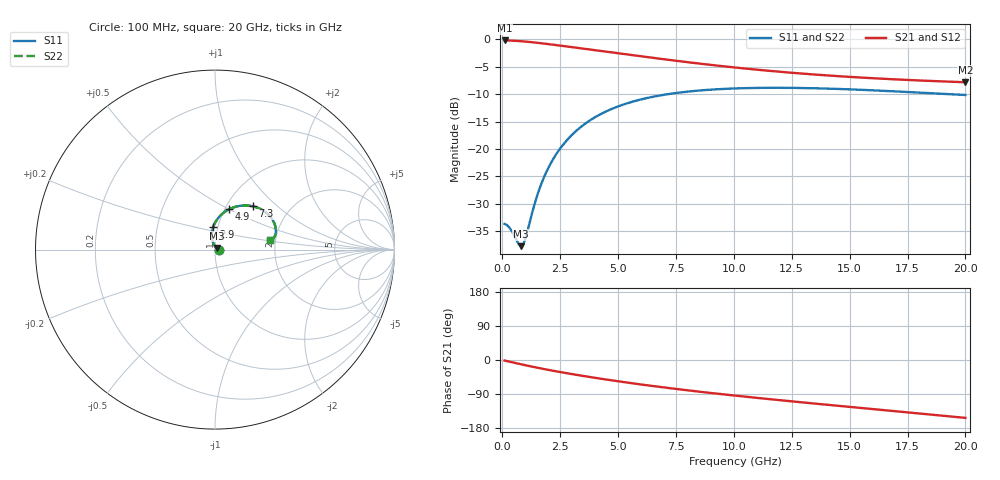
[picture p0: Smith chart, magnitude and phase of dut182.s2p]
! Created with skrf 1.9.0 (http://scikit-rf.org).
# GHz S RI R 50.0
!freq ReS11 ImS11 ReS21 ImS21 ReS12 ImS12 ReS22 ImS22
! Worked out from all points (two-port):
!   200 points, 100 MHz to 20 GHz, reference 50 ohm
!   highest |S21| = -0.19 dB at 100 MHz (marker M1); lowest = -7.8 dB at 20 GHz (marker M2)
!   |S21| within 3 dB of the highest: start of sweep to 6.179 GHz
!   lowest |S11| = -37.8 dB at 800 MHz (marker M3), VSWR 1.03, Z = 50.9 + j0.934 ohm
!   |S11| at or under -10 dB: start of sweep to 7.154 GHz; 19.27 GHz to end of sweep
!   |S22| runs from -37.8 to -8.8 dB; largest |S21 - S12| = 2.1e-15
!   S11 on the Smith chart (normalised r, x): 100 MHz: 1.04, +0.00; 2.9 GHz: 0.95, +0.24; 4.9 GHz: 1.05, +0.50; 7.3 GHz: 1.31, +0.71; 20 GHz: 1.87, +0.21
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0.1  0.0206 0.000208  0.9786 -0.024  0.9786 -0.024  0.0206 0.000208
0.3  0.0191 0.00171  0.9741 -0.0725  0.9741 -0.0725  0.0191 0.00171
0.7  0.0116 0.00702  0.953 -0.1651  0.953 -0.1651  0.0116 0.00702
0.8  0.00907 0.00917  0.9456 -0.187  0.9456 -0.187  0.00907 0.00917
0.9  0.00641 0.0117  0.9373 -0.2084  0.9373 -0.2084  0.00641 0.0117
1  0.00365 0.0147  0.9283 -0.2291  0.9283 -0.2291  0.00365 0.0147
1.4  -0.00712 0.0308  0.8867 -0.3054  0.8867 -0.3054  -0.00712 0.0308
1.6  -0.0116 0.0412  0.8633 -0.3396  0.8633 -0.3396  -0.0116 0.0412
1.8  -0.0151 0.0528  0.8386 -0.3712  0.8386 -0.3712  -0.0151 0.0528
2.3  -0.018 0.0856  0.7734 -0.4397  0.7734 -0.4397  -0.018 0.0856
2.9  -0.00983 0.1268  0.6922 -0.5045  0.6922 -0.5045  -0.00983 0.1268
3.5  0.00962 0.1649  0.6107 -0.5533  0.6107 -0.5533  0.00962 0.1649
4.2  0.0423 0.2007  0.5177 -0.5935  0.5177 -0.5935  0.0423 0.2007
4.9  0.0808 0.2257  0.4286 -0.6185  0.4286 -0.6185  0.0808 0.2257
5.8  0.1321 0.2427  0.3223 -0.6326  0.3223 -0.6326  0.1321 0.2427
6.8  0.1855 0.2451  0.2166 -0.6303  0.2166 -0.6303  0.1855 0.2451
7.3  0.2093 0.2415  0.1689 -0.6238  0.1689 -0.6238  0.2093 0.2415
8.7  0.2643 0.2201  0.0526 -0.593  0.0526 -0.593  0.2643 0.2201
10.1  0.3021 0.19  -0.0412 -0.551  -0.0412 -0.551  0.3021 0.19
13.4  0.3383 0.118  -0.1985 -0.4363  -0.1985 -0.4363  0.3383 0.118
16.7  0.3302 0.069  -0.2992 -0.3147  -0.2992 -0.3147  0.3302 0.069
20  0.3064 0.0517  -0.361 -0.1862  -0.361 -0.1862  0.3064 0.0517
